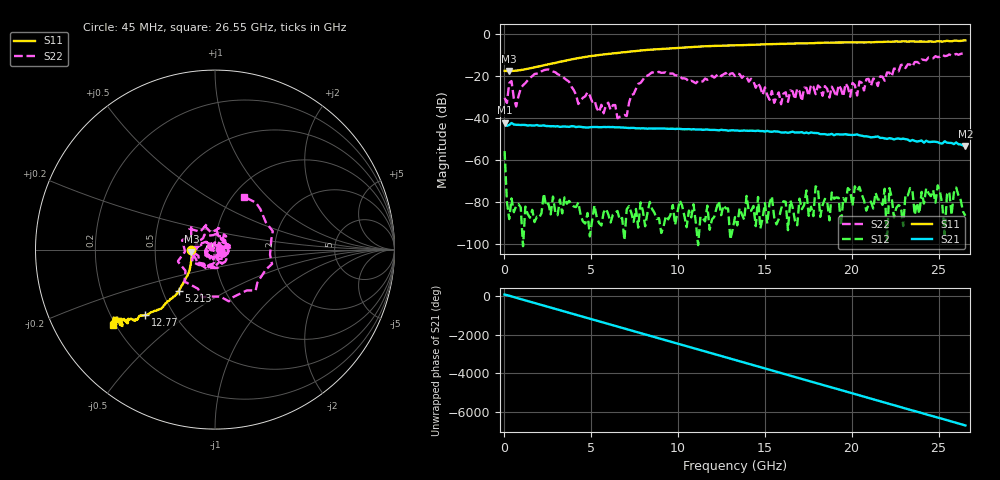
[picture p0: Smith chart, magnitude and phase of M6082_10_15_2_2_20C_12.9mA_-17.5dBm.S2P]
!  2-Port S-parameters saved by WinCal
! VAR MeasName=S-Parameters (CALIBRATED_DATA) read from VNA (C)
! VAR MeasDate=10/16/2015 3:19:01 PM
! VAR NAME=M6082_10_15_2_2_20C_12.9mA_-17.5dBm
! VAR FILENAME=M6082_10_15_2_2_20C_12.9mA_-17.5dBm.S2P
! VAR DATE=10/16/2015 3:19:01 PM
! VAR PHYS_PORTS=2,1
! VAR ObjTypeName=DATASET
! VAR IndexType=Frequency
# Hz S DB R 50
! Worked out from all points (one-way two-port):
!   201 points, 45 MHz to 26.55 GHz, reference 50 ohm
!   highest |S21| = -42.22 dB at 45 MHz (marker M1); lowest = -53.4 dB at 26.55 GHz (marker M2)
!   lowest |S11| = -17.6 dB at 310 MHz (marker M3), VSWR 1.30, Z = 38.4 - j0.971 ohm
!   |S11| at or under -10 dB: start of sweep to 5.428 GHz
!   |S22| runs from -40.2 to -9.2 dB; largest |S21 - S12| = 0.0075
!   S11 on the Smith chart (normalised r, x): 45 MHz: 0.77, -0.00; 5.213 GHz: 0.60, -0.31; 12.77 GHz: 0.35, -0.35; 26.55 GHz: 0.19, -0.32
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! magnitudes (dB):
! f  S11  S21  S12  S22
! 45 MHz  -17.5  -42.2  -55.8  -30.4
! 177.5 MHz  -17.6  -43.8  -80.0  -32.8
! 310 MHz  -17.6  -43.4  -88.3  -23.4
! 707.5 MHz  -17.4  -43.3  -82.0  -34.5
! 1.105 GHz  -17.0  -43.3  -101.2  -24.4
! 2.43 GHz  -14.7  -43.9  -82.0  -17.0
! 4.55 GHz  -11.1  -44.4  -89.4  -30.4
! 5.213 GHz  -10.2  -44.3  -81.8  -31.6
! 7.067 GHz  -8.5  -44.7  -83.6  -39.1
! 7.73 GHz  -7.9  -44.9  -92.3  -23.7
! 8.922 GHz  -7.1  -45.1  -87.8  -18.0
! 12.77 GHz  -5.4  -45.8  -83.2  -18.5
! 13.29 GHz  -5.3  -46.0  -87.3  -20.0
! 15.95 GHz  -4.6  -47.0  -83.6  -33.5
! 17.8 GHz  -4.3  -47.1  -86.9  -25.1
! 17.93 GHz  -4.2  -47.2  -72.7  -28.7
! 18.2 GHz  -4.2  -47.7  -87.2  -25.5
! 20.32 GHz  -4.0  -47.9  -74.8  -29.3
! 22.04 GHz  -3.6  -50.0  -99.3  -18.3
! 22.17 GHz  -3.6  -49.7  -73.5  -18.3
! 22.44 GHz  -3.5  -50.3  -87.5  -16.5
! 26.55 GHz  -3.0  -53.4  -86.7  -9.5
